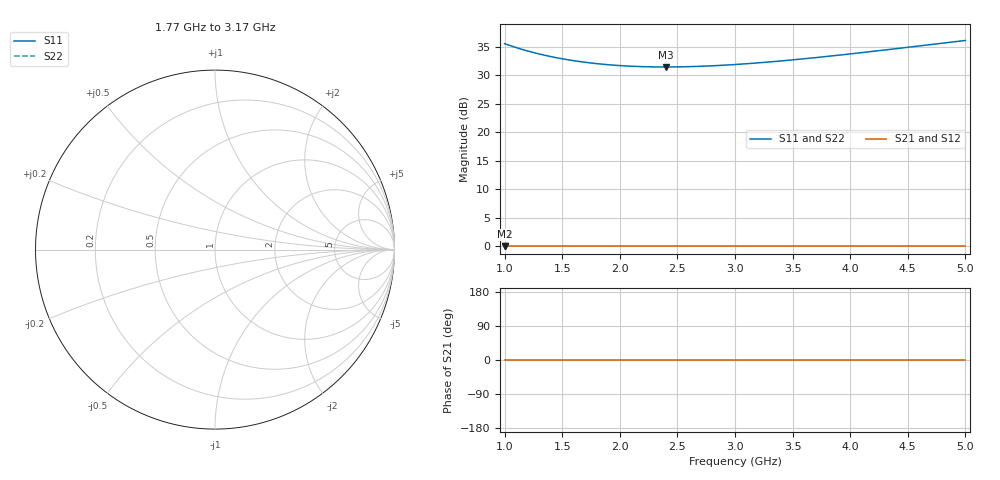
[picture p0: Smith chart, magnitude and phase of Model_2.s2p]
# GHZ S RI R 50
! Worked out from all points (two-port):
!   401 points, 1 GHz to 5 GHz, reference 50 ohm
!   highest |S21| = 0.00 dB at 1 GHz (marker M1); lowest = 0.0 dB at 1 GHz (marker M2)
!   |S21| within 3 dB of the highest: start of sweep to end of sweep
!   lowest |S11| = 31.5 dB at 2.4 GHz (marker M3)
!   |S11| at or under -10 dB: nowhere
!   |S22| runs from 31.5 to 36.1 dB; largest |S21 - S12| = 0
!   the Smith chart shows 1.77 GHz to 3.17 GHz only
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1  60 0  1 0  1 0  60 0
1.02  59 0  1 0  1 0  59 0
1.15  53.47 0  1 0  1 0  53.47 0
1.22  51.06 0  1 0  1 0  51.06 0
1.3  48.69 0  1 0  1 0  48.69 0
1.38  46.66 0  1 0  1 0  46.66 0
1.47  44.74 0  1 0  1 0  44.74 0
1.57  42.96 0  1 0  1 0  42.96 0
1.67  41.51 0  1 0  1 0  41.51 0
1.82  39.84 0  1 0  1 0  39.84 0
1.98  38.62 0  1 0  1 0  38.62 0
2.15  37.83 0  1 0  1 0  37.83 0
2.34  37.46 0  1 0  1 0  37.46 0
2.4  37.44 0  1 0  1 0  37.44 0
2.69  37.92 0  1 0  1 0  37.92 0
3  39.33 0  1 0  1 0  39.33 0
3.33  41.69 0  1 0  1 0  41.69 0
3.67  44.92 0  1 0  1 0  44.92 0
4  48.75 0  1 0  1 0  48.75 0
4.34  53.34 0  1 0  1 0  53.34 0
4.64  57.91 0  1 0  1 0  57.91 0
5  64 0  1 0  1 0  64 0
